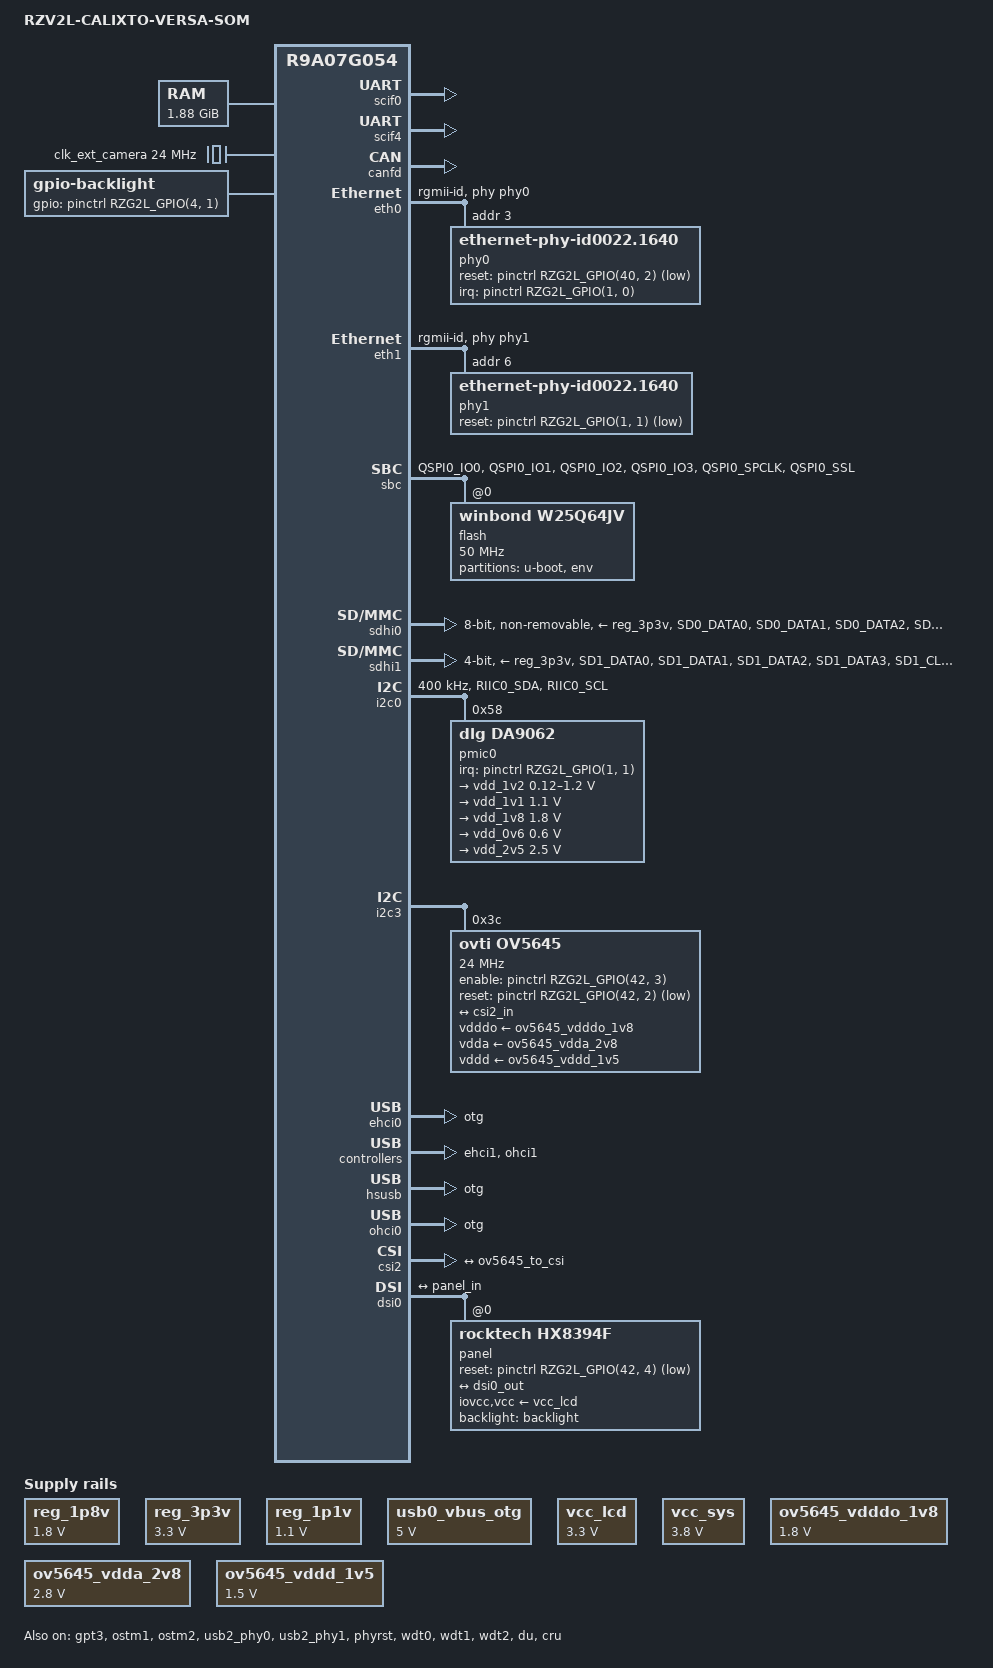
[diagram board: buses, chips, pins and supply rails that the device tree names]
// SPDX-License-Identifier: (GPL-2.0-only OR BSD-2-Clause)
/*
 * Device Tree Source for the RZV2L VERSA SOM
 *
 * Copyright (C) 2024 Calixto Systems PVT LTD.
 */

/dts-v1/;
#include "r9a07g054l2.dtsi"
#include <dt-bindings/gpio/gpio.h>
#include <dt-bindings/pinctrl/rzg2l-pinctrl.h>
#include <dt-bindings/regulator/dlg,da9063-regulator.h>

/ {
	model = "RZV2L-CALIXTO-VERSA-SOM";
	compatible = "calixto,rzv2l-calixto-versa-som", "renesas,r9a07g054l2", "renesas,r9a07g054";

	aliases {
                serial0 = &scif0;
		serial4 = &scif4;
		ethernet0 = &eth0;
		ethernet1 = &eth1;
		rtc0 = &da9062_rtc;
		i2c3 = &i2c3;
	};

	chosen {
		stdout-path = "serial0:115200n8";
		bootargs = "ignore_loglevel rw root=/dev/nfs ip=on";
	};

	memory@48000000 {
		device_type = "memory";
		/* first 128MB is reserved for secure area. */
		reg = <0x0 0x48000000 0x0 0x78000000>;
	};

	reserved-memory {
		#address-cells = <2>;
		#size-cells = <2>;
		ranges;

		global_cma: linux,cma@58000000 {
			compatible = "shared-dma-pool";
			linux,cma-default;
			reusable;
			reg = <0x0 0x58000000 0x0 0x10000000>;
		};
		mmp_reserved: linux,multimedia {
			compatible = "shared-dma-pool";
			reusable;
			reg = <0x00000000 0x68000000 0x0 0x8000000>;
		};
	};

	mmngr {
		compatible = "renesas,mmngr";
		memory-region = <&mmp_reserved>;
	};

	mmngrbuf {
		compatible = "renesas,mmngrbuf";
	};

	vspm_if {
		compatible = "renesas,vspm_if";
	};

	reg_1p8v: regulator0 {
		compatible = "regulator-fixed";
		regulator-name = "fixed-1.8V";
		regulator-min-microvolt = <1800000>;
		regulator-max-microvolt = <1800000>;
		regulator-boot-on;
		regulator-always-on;
	};

	reg_3p3v: regulator1 {
		compatible = "regulator-fixed";
		regulator-name = "fixed-3.3V";
		regulator-min-microvolt = <3300000>;
		regulator-max-microvolt = <3300000>;
		regulator-boot-on;
		regulator-always-on;
	};

	reg_1p1v: regulator-vdd-core {
		compatible = "regulator-fixed";
		regulator-name = "fixed-1.1V";
		regulator-min-microvolt = <1100000>;
		regulator-max-microvolt = <1100000>;
		regulator-boot-on;
		regulator-always-on;
	};


	usb0_vbus_otg: regulator-usb0-vbus-otg {
		compatible = "regulator-fixed";

		regulator-name = "USB0_VBUS_OTG";
		regulator-min-microvolt = <5000000>;
		regulator-max-microvolt = <5000000>;
	};
	vcc_lcd: regulator-vcc-lcd {
		compatible = "regulator-fixed";
		regulator-min-microvolt = <3300000>;
		regulator-max-microvolt = <3300000>;
		regulator-name = "vcc_lcd";
		regulator-boot-on;
		regulator-always-on;
	};
	vcc_sys: regulator-vcc-sys {
		compatible = "regulator-fixed";
		regulator-always-on;
		regulator-boot-on;
		regulator-min-microvolt = <3800000>;
		regulator-max-microvolt = <3800000>;
		regulator-name = "vcc_sys";
	};
	
//	panel_rgb: panel-rgb {

//             compatible = "giantplus,gpm940b0";   /* Used this compatible if the panel is supported in panel-simple */
//              compatible = "panel-dpi";
//               /* panel-timing is used for "panel-dpi" compatible */
//               panel-timing {
//                       clock-frequency = <9000000>;
//                       hactive = <480>;
//                       vactive = <272>;
//                       hsync-len = <43>;
//                       hfront-porch = <8>;
//                       hback-porch = <41>;
//                       vfront-porch = <4>;
//                       vback-porch = <10>;
//                       vsync-len = <21>;
//               };

//              port {
//                       panel_in_rgb: endpoint {
//                               remote-endpoint = <&du_out_rgb>;
//                       };
//               };

//       };*/
	
	clk_ext_camera: clk_ext_camera {
		compatible = "fixed-clock";
		#clock-cells = <0>;
		clock-frequency = <24000000>;
	};

	ov5645_vdddo_1v8: 1p8v {
		compatible = "regulator-fixed";
		regulator-name = "camera_vdddo";
		regulator-min-microvolt = <1800000>;
		regulator-max-microvolt = <1800000>;
		regulator-always-on;
	};

	ov5645_vdda_2v8: 2p8v {
		compatible = "regulator-fixed";
		regulator-name = "camera_vdda";
		regulator-min-microvolt = <2800000>;
		regulator-max-microvolt = <2800000>;
		regulator-always-on;
	};

	ov5645_vddd_1v5: 1p5v {
		compatible = "regulator-fixed";
		regulator-name = "camera_vddd";
		regulator-min-microvolt = <1500000>;
		regulator-max-microvolt = <1500000>;
		regulator-always-on;
	};

	backlight: backlight {
                compatible = "gpio-backlight";
                gpios = <&pinctrl RZG2L_GPIO(4, 1) GPIO_ACTIVE_HIGH>;
                default-on;
        };

};


&pinctrl {

        gpt3_pins: gpt3 {
                pinmux = <RZG2L_PORT_PINMUX(19, 1, 2)>; /* Channel B */
        };

	scif4_pins: scif4 {
		pinmux = <RZG2L_PORT_PINMUX(2, 0, 5)>,	/* TxD */
			 <RZG2L_PORT_PINMUX(2, 1, 5)>;	/* RxD */
			 /* <RZG2L_PORT_PINMUX(47, 2, 0)>; */	/* GPIO - RS485 Output Enable */
	};

        scif0_pins: scif0 {
		pinmux = <RZG2L_PORT_PINMUX(38, 0, 1)>,	/* TxD */
			 <RZG2L_PORT_PINMUX(38, 1, 1)>;	/* RxD */
	};

	can1_pins: can1 {
		pinmux = <RZG2L_PORT_PINMUX(40, 0, 3)>, /* CAN TX */
			 <RZG2L_PORT_PINMUX(40, 1, 3)>; /* CAN RX */
	};

	i2c0_pins: i2c0 {
		pins = "RIIC0_SDA", "RIIC0_SCL";
		input-enable;
	};

	i2c1_pins: i2c1 {
		pins = "RIIC1_SDA", "RIIC1_SCL";
		input-enable;
	};
	i2c3_pins: i2c3 {
		pinmux = <RZG2L_PORT_PINMUX(18, 0, 3)>, /* SDA */
			 <RZG2L_PORT_PINMUX(18, 1, 3)>; /* SCL */
	};

	usb0_pins: usb0 {
		pinmux = 
			 <RZG2L_PORT_PINMUX(4, 0, 1)>, /* VBUS */
			 <RZG2L_PORT_PINMUX(5, 0, 1)>, /* OVC */
			 <RZG2L_PORT_PINMUX(5, 1, 1)>; /* OTG_ID */
	};

	usb1_pins: usb1 {
		pinmux = <RZG2L_PORT_PINMUX(42, 0, 1)>, /* VBUS */
			 <RZG2L_PORT_PINMUX(42, 1, 1)>; /* OVC */
	};

	eth0_pins: eth0 {
		pinmux = <RZG2L_PORT_PINMUX(28, 1, 1)>, /* ET0_LINKSTA */
			 <RZG2L_PORT_PINMUX(27, 1, 1)>, /* ET0_MDC */
			 <RZG2L_PORT_PINMUX(28, 0, 1)>, /* ET0_MDIO */
			 <RZG2L_PORT_PINMUX(20, 0, 1)>, /* ET0_TXC */
			 <RZG2L_PORT_PINMUX(20, 1, 1)>, /* ET0_TX_CTL */
			 <RZG2L_PORT_PINMUX(20, 2, 1)>, /* ET0_TXD0 */
			 <RZG2L_PORT_PINMUX(21, 0, 1)>, /* ET0_TXD1 */
			 <RZG2L_PORT_PINMUX(21, 1, 1)>, /* ET0_TXD2 */
			 <RZG2L_PORT_PINMUX(22, 0, 1)>, /* ET0_TXD3 */
			 <RZG2L_PORT_PINMUX(24, 0, 1)>, /* ET0_RXC */
			 <RZG2L_PORT_PINMUX(24, 1, 1)>, /* ET0_RX_CTL */
			 <RZG2L_PORT_PINMUX(25, 0, 1)>, /* ET0_RXD0 */
			 <RZG2L_PORT_PINMUX(25, 1, 1)>, /* ET0_RXD1 */
			 <RZG2L_PORT_PINMUX(26, 0, 1)>, /* ET0_RXD2 */
			 <RZG2L_PORT_PINMUX(26, 1, 1)>; /* ET0_RXD3 */
	};
	eth1_pins: eth1 {
		pinmux = <RZG2L_PORT_PINMUX(37, 2, 1)>, /* ET1_LINKSTA */
			 <RZG2L_PORT_PINMUX(37, 0, 1)>, /* ET1_MDC */
			 <RZG2L_PORT_PINMUX(37, 1, 1)>, /* ET1_MDIO */
			 <RZG2L_PORT_PINMUX(29, 0, 1)>, /* ET1_TXC */
			 <RZG2L_PORT_PINMUX(29, 1, 1)>, /* ET1_TX_CTL */
			 <RZG2L_PORT_PINMUX(30, 0, 1)>, /* ET1_TXD0 */
			 <RZG2L_PORT_PINMUX(30, 1, 1)>, /* ET1_TXD1 */
			 <RZG2L_PORT_PINMUX(31, 0, 1)>, /* ET1_TXD2 */
			 <RZG2L_PORT_PINMUX(31, 1, 1)>, /* ET1_TXD3 */
			 <RZG2L_PORT_PINMUX(33, 1, 1)>, /* ET1_RXC */
			 <RZG2L_PORT_PINMUX(34, 0, 1)>, /* ET1_RX_CTL */
			 <RZG2L_PORT_PINMUX(34, 1, 1)>, /* ET1_RXD0 */
			 <RZG2L_PORT_PINMUX(35, 0, 1)>, /* ET1_RXD1 */
			 <RZG2L_PORT_PINMUX(35, 1, 1)>, /* ET1_RXD2 */
			 <RZG2L_PORT_PINMUX(36, 0, 1)>; /* ET1_RXD3 */
	};
        du_pins: du {
		data {
			pinmux = <RZG2L_PORT_PINMUX(14, 1, 1)>,
				 <RZG2L_PORT_PINMUX(15, 0, 1)>,
				 <RZG2L_PORT_PINMUX(15, 1, 1)>,
				 <RZG2L_PORT_PINMUX(16, 0, 1)>,
				 <RZG2L_PORT_PINMUX(16, 1, 1)>,
				 <RZG2L_PORT_PINMUX(17, 0, 1)>,
				 <RZG2L_PORT_PINMUX(17, 1, 1)>,
				 <RZG2L_PORT_PINMUX(17, 2, 1)>,
				 <RZG2L_PORT_PINMUX(11, 0, 1)>,
				 <RZG2L_PORT_PINMUX(11, 1, 1)>,
				 <RZG2L_PORT_PINMUX(12, 0, 1)>,
				 <RZG2L_PORT_PINMUX(12, 1, 1)>,
				 <RZG2L_PORT_PINMUX(13, 0, 1)>,
				 <RZG2L_PORT_PINMUX(13, 1, 1)>,
				 <RZG2L_PORT_PINMUX(13, 2, 1)>,
				 <RZG2L_PORT_PINMUX(14, 0, 1)>,
				 <RZG2L_PORT_PINMUX(7, 2, 1)>,
				 <RZG2L_PORT_PINMUX(8, 0, 1)>,
				 <RZG2L_PORT_PINMUX(8, 1, 1)>,
				 <RZG2L_PORT_PINMUX(8, 2, 1)>,
				 <RZG2L_PORT_PINMUX(9, 0, 1)>,
				 <RZG2L_PORT_PINMUX(9, 1, 1)>,
				 <RZG2L_PORT_PINMUX(10, 0, 1)>,
				 <RZG2L_PORT_PINMUX(10, 1, 1)>;
		};

		sync {
			pinmux = <RZG2L_PORT_PINMUX(6, 1, 1)>, /* HSYNC */
				 <RZG2L_PORT_PINMUX(7, 0, 1)>; /* VSYNC */
		};

		de {
			pinmux = <RZG2L_PORT_PINMUX(7, 1, 1)>; /* DE */
		};

		clk {
			pinmux = <RZG2L_PORT_PINMUX(6, 0, 1)>; /* CLK */
		};
	};

	qspi0_pins: qspi0 {
		qspi0-data {
			pins = "QSPI0_IO0", "QSPI0_IO1", "QSPI0_IO2", "QSPI0_IO3";
			power-source = <3300>;
		};

		qspi0-ctrl {
			pins = "QSPI0_SPCLK", "QSPI0_SSL";
			power-source = <3300>;
		};
	};

	sdhi0_emmc_pins: sd0emmc {
		sd0_emmc_data {
			pins = "SD0_DATA0", "SD0_DATA1", "SD0_DATA2", "SD0_DATA3",
			       "SD0_DATA4", "SD0_DATA5", "SD0_DATA6", "SD0_DATA7";
			power-source = <1800>;
		};

		sd0_emmc_ctrl {
			pins = "SD0_CLK", "SD0_CMD";
			power-source = <1800>;
		};

		sd0_emmc_rst {
			pins = "SD0_RST#";
			power-source = <1800>;
		};
	};


	sdhi1_pins: sd1 {
		sd1_data {
			pins = "SD1_DATA0", "SD1_DATA1", "SD1_DATA2", "SD1_DATA3";
			power-source = <3300>;
		};

		sd1_ctrl {
			pins = "SD1_CLK", "SD1_CMD";
			power-source = <3300>;
		};

		sd1_mux {
			pinmux = <RZG2L_PORT_PINMUX(19, 0, 1)>; /* SD1_CD */
		};
	};
};

&gpt3 {
        pinctrl-0 = <&gpt3_pins>;
        pinctrl-names = "default";
        channel = "channel_B";
        //conflict pin with SD1 WP
        poeg = <&poega &poegb &poegc &poegd>;
        status = "okay";
};



&scif0 {
	pinctrl-0 = <&scif0_pins>;
	pinctrl-names = "default";
	status = "okay";
};

&scif4 {
	pinctrl-0 = <&scif4_pins>;
	pinctrl-names = "default";
	status = "okay";
};

&canfd {
	pinctrl-0 = <&can1_pins>;
	pinctrl-names = "default";
	renesas,no-can-fd;
	status = "okay";

	channel1 {
		status = "okay";
	};
};


&eth0 {
	pinctrl-0 = <&eth0_pins>;
	pinctrl-names = "default";
	phy-handle = <&phy0>;
	phy-mode = "rgmii-id"; 
	status = "okay";

	phy0: ethernet-phy@3 {
		compatible = "ethernet-phy-id0022.1640",
			     "ethernet-phy-ieee802.3-c22";
		reg = <3>;
		rxc-skew-psec = <2400>;
		txc-skew-psec = <2400>;
		rxdv-skew-psec = <0>;
		txdv-skew-psec = <0>;
		rxd0-skew-psec = <0>;
		rxd1-skew-psec = <0>;
		rxd2-skew-psec = <0>;
		rxd3-skew-psec = <0>;
		txd0-skew-psec = <0>;
		txd1-skew-psec = <0>;
		txd2-skew-psec = <0>;
		txd3-skew-psec = <0>;

		reset-assert-us = <10000>;
		reset-deassert-us = <10000>;
		reset-gpios = <&pinctrl RZG2L_GPIO(40, 2) GPIO_ACTIVE_LOW>;

		interrupt-parent = <&pinctrl>;
		interrupts = <RZG2L_GPIO(1, 0) IRQ_TYPE_LEVEL_LOW>;
	};
};
&eth1 {
	pinctrl-0 = <&eth1_pins>;
	pinctrl-names = "default";
	phy-handle = <&phy1>;
	phy-mode = "rgmii-id"; 
	status = "okay";

	phy1: ethernet-phy@6 {
		compatible = "ethernet-phy-id0022.1640",
			     "ethernet-phy-ieee802.3-c22";
		reg = <6>;
		rxc-skew-psec = <2400>;
		txc-skew-psec = <2400>;
		rxdv-skew-psec = <0>;
		txdv-skew-psec = <0>;
		rxd0-skew-psec = <0>;
		rxd1-skew-psec = <0>;
		rxd2-skew-psec = <0>;
		rxd3-skew-psec = <0>;
		txd0-skew-psec = <0>;
		txd1-skew-psec = <0>;
		txd2-skew-psec = <0>;
		txd3-skew-psec = <0>;

		reset-assert-us = <10000>;
		reset-deassert-us = <10000>;
		reset-gpios = <&pinctrl RZG2L_GPIO(1, 1) GPIO_ACTIVE_LOW>;
	};
};

&sbc {
	pinctrl-0 = <&qspi0_pins>;
	pinctrl-names = "default";
	status = "okay";

	flash@0 {
		compatible = "winbond,w25q64jv", "spi-flash", "jedec,spi-nor";
		reg = <0>;
		spi-max-frequency = <50000000>;
		spi-rx-bus-width = <4>;
		spi-tx-bus-width = <4>;

		partitions {
			compatible = "fixed-partitions";
			#address-cells = <1>;
			#size-cells = <1>;

			partition@0000000 {
				label = "u-boot";
				reg = <0x00000000 0x760000>;
				read-only;
			};
			partition@80000 {
				label = "env";
				reg = <0x00760000 0x2000>;
				read-only;
			};
		};
	};
};

&sdhi0 {
	pinctrl-0 = <&sdhi0_emmc_pins>;
	pinctrl-1 = <&sdhi0_emmc_pins>;
	pinctrl-names = "default", "state_uhs";

	vmmc-supply = <&reg_3p3v>;
	vqmmc-supply = <&reg_1p8v>;
	bus-width = <8>;
	mmc-hs200-1_8v;
	non-removable;
	fixed-emmc-driver-type = <1>;
	status = "okay";
};

&sdhi1 {
	pinctrl-0 = <&sdhi1_pins>;
	pinctrl-1 = <&sdhi1_pins>;
	pinctrl-names = "default";

	vmmc-supply = <&reg_3p3v>;
	vqmmc-supply = <&reg_3p3v>;
	bus-width = <4>;
	status = "okay";
};

&i2c0 {
	pinctrl-0 = <&i2c0_pins>;
	pinctrl-names = "default";
	clock-frequency = <400000>;
	status = "okay";

	pmic0: da9062@58 {
		compatible = "dlg,da9062";
		reg = <0x58>;
		interrupt-parent = <&pinctrl>;
		interrupts = <RZG2L_GPIO(1, 1) IRQ_TYPE_LEVEL_LOW>;
		interrupt-controller;
		gpio-controller;

		da9062_rtc: rtc {
			compatible = "dlg,da9062-rtc";
			status = "okay";
		};

		da9062_onkey: onkey {
			compatible = "dlg,da9062-onkey";
                        status = "disabled";
		};

		watchdog {
			compatible = "dlg,da9062-watchdog";
			dlg,use-sw-pm;
                        status = "disabled";
		};

		thermal {
			compatible = "dlg,da9062-thermal";
			status = "disabled";
		};

		gpio {
			compatible = "dlg,da9062-gpio";
			status = "disabled";
		};

		regulators {
			vdd_1v2: buck1 {
				regulator-name = "vdd_1V2";
				regulator-min-microvolt = <120000>;
				regulator-max-microvolt = <1200000>;
				regulator-initial-mode = <DA9063_BUCK_MODE_SYNC>;
				regulator-always-on;
			};

			vdd_1v1: buck2 {
				regulator-name = "vdd_1V1";
				regulator-min-microvolt = <1100000>;
				regulator-max-microvolt = <1100000>;
				regulator-initial-mode = <DA9063_BUCK_MODE_SYNC>;
				regulator-always-on;
			};

			vdd_1v8: buck3 {
				regulator-name = "vdd_1V8";
				regulator-min-microvolt = <1800000>;
				regulator-max-microvolt = <1800000>;
				regulator-initial-mode = <DA9063_BUCK_MODE_SYNC>;
				regulator-always-on;
			};

			vdd_0v6: buck4 {
				regulator-name = "vdd_0V6";
				regulator-min-microvolt = <600000>;
				regulator-max-microvolt = <600000>;
				regulator-initial-mode = <DA9063_BUCK_MODE_SYNC>;
				regulator-always-on;
			};


			vdd_2v5: ldo2 {
				regulator-name = "vdd_2V5";
				regulator-min-microvolt = <2500000>;
				regulator-max-microvolt = <2500000>;
				regulator-always-on;
			};
		};

	};
};

&i2c3 {
	pinctrl-0 = <&i2c3_pins>;
	pinctrl-names = "default";

	status = "okay";

	ov5645: camera@3c {
		compatible = "ovti,ov5645";
		reg = <0x3c>;
		clock-names = "xclk";
		clocks = <&clk_ext_camera>;
		clock-frequency = <24000000>;
		vdddo-supply = <&ov5645_vdddo_1v8>;
		vdda-supply = <&ov5645_vdda_2v8>;
		vddd-supply = <&ov5645_vddd_1v5>;

		port {
			ov5645_to_csi: endpoint {
				clock-lanes = <0>;
				data-lanes = <1 2>;
				remote-endpoint = <&csi2_in>;
			};
		};
	};
};

&adc {
	status = "disabled";
};

&extal_clk {
	clock-frequency = <24000000>;
};

&gpu {
	mali-supply = <&reg_1p1v>;
};

&ostm1 {
	status = "okay";
};

&ostm2 {
	status = "okay";
};

&ehci0 {
	dr_mode = "otg";
	status = "okay";
	memory-region = <&global_cma>;
};

&ehci1 {
	status = "okay";
	memory-region = <&global_cma>;
};

&hsusb {
	dr_mode = "otg";
	status = "okay";
};

&usb2_phy0 {
	pinctrl-0 = <&usb0_pins>;
	pinctrl-names = "default";

	vbus-supply = <&usb0_vbus_otg>;
	status = "okay";
};

&usb2_phy1 {
	pinctrl-0 = <&usb1_pins>;
	pinctrl-names = "default";

	status = "okay";
};

&ohci0 {
	dr_mode = "otg";
	status = "okay";
	memory-region = <&global_cma>;
};

&ohci1 {
	status = "okay";
	memory-region = <&global_cma>;
};

&phyrst {
	status = "okay";
};

&wdt0 {
	status = "okay";
	timeout-sec = <60>;
};

&wdt1 {
	status = "okay";
	timeout-sec = <60>;
};

&wdt2 {
	status = "okay";
	timeout-sec = <60>;
};

&ehci0 {
	memory-region = <&global_cma>;
};

&ohci0 {
	memory-region = <&global_cma>;
};

&ehci1 {
	memory-region = <&global_cma>;
};

&ohci1 {
	memory-region = <&global_cma>;
};

&ehci0 {
	memory-region = <&global_cma>;
};

&ohci0 {
	memory-region = <&global_cma>;
};

&ehci1 {
	memory-region = <&global_cma>;
};

&ohci1 {
	memory-region = <&global_cma>;
};

&du {
//	pinctrl-0 = <&du_pins>;
//	pinctrl-names = "default";
	status = "okay";

//	ports {
//		port@0 {
//			du_out_rgb: endpoint {
//						remote-endpoint = <&panel_in_rgb>;
//			};
//		};
//	};
};

&csi2 {
	status = "okay";

	ports {
		port {
			csi2_in: endpoint {
				clock-lanes = <0>;
				data-lanes = <1 2>;
				remote-endpoint = <&ov5645_to_csi>;
			};
		};
	};
};
&cru {
	status = "okay";
};
&dsi0 {
	status = "okay";
	#address-cells = <1>;
	#size-cells = <0>;
	ports {
			#address-cells = <1>;
			#size-cells = <0>;
			port@1 {
					dsi0_out: endpoint {
							remote-endpoint = <&panel_in>;
							data-lanes = <1 2 3 4>;
					};
			};
	};
	panel@0 {
			compatible = "rocktech,hx8394f";
			reg = <0>;
			dsi-lanes = <4>;
			iovcc-supply = <&vcc_lcd>;
			vcc-supply = <&vcc_lcd>;
			reset-gpios = <&pinctrl RZG2L_GPIO(42, 4) GPIO_ACTIVE_LOW>;
			backlight = <&backlight>;
			status = "okay";
			port {
					panel_in: endpoint {
							remote-endpoint = <&dsi0_out>;
					};
			};
	};
};

&ov5645 {
	enable-gpios = <&pinctrl RZG2L_GPIO(42, 3) GPIO_ACTIVE_HIGH>;
	reset-gpios = <&pinctrl RZG2L_GPIO(42, 2) GPIO_ACTIVE_LOW>;
};
